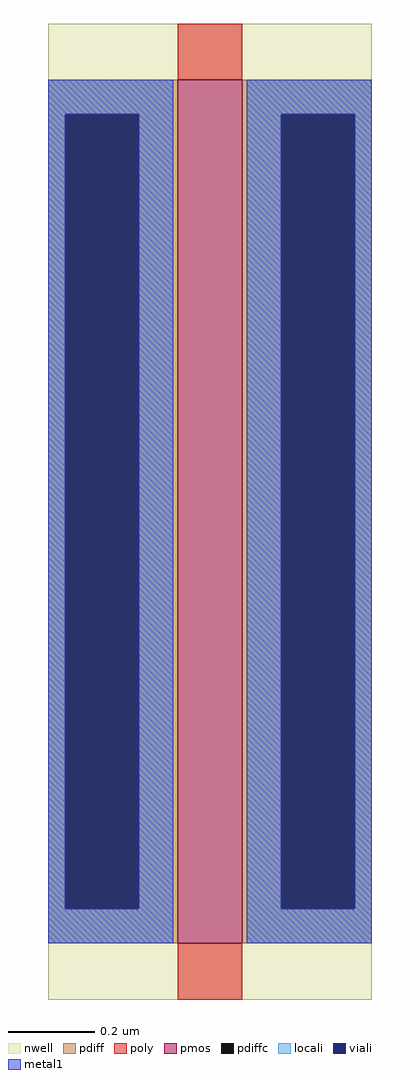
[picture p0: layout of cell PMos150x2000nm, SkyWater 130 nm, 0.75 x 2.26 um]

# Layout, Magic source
magic
tech sky130A
<< nwell >>
rect -30 -13 45 213
<< pmos >>
rect 0 0 15 200
<< pdiff >>
rect -30 192 0 200
rect -30 8 -26 192
rect -9 8 0 192
rect -30 0 0 8
rect 15 192 45 200
rect 15 8 24 192
rect 41 8 45 192
rect 15 0 45 8
<< pdiffc >>
rect -26 8 -9 192
rect 24 8 41 192
<< poly >>
rect 0 200 15 213
rect 0 -13 15 0
<< locali >>
rect -30 192 -1 200
rect -30 8 -26 192
rect -9 8 -1 192
rect -30 0 -1 8
rect 16 192 45 200
rect 16 8 24 192
rect 41 8 45 192
rect 16 0 45 8
<< viali >>
rect -26 8 -9 192
rect 24 8 41 192
<< metal1 >>
rect -30 192 -1 200
rect -30 8 -26 192
rect -9 8 -1 192
rect -30 0 -1 8
rect 16 192 45 200
rect 16 8 24 192
rect 41 8 45 192
rect 16 0 45 8
<< end >>
